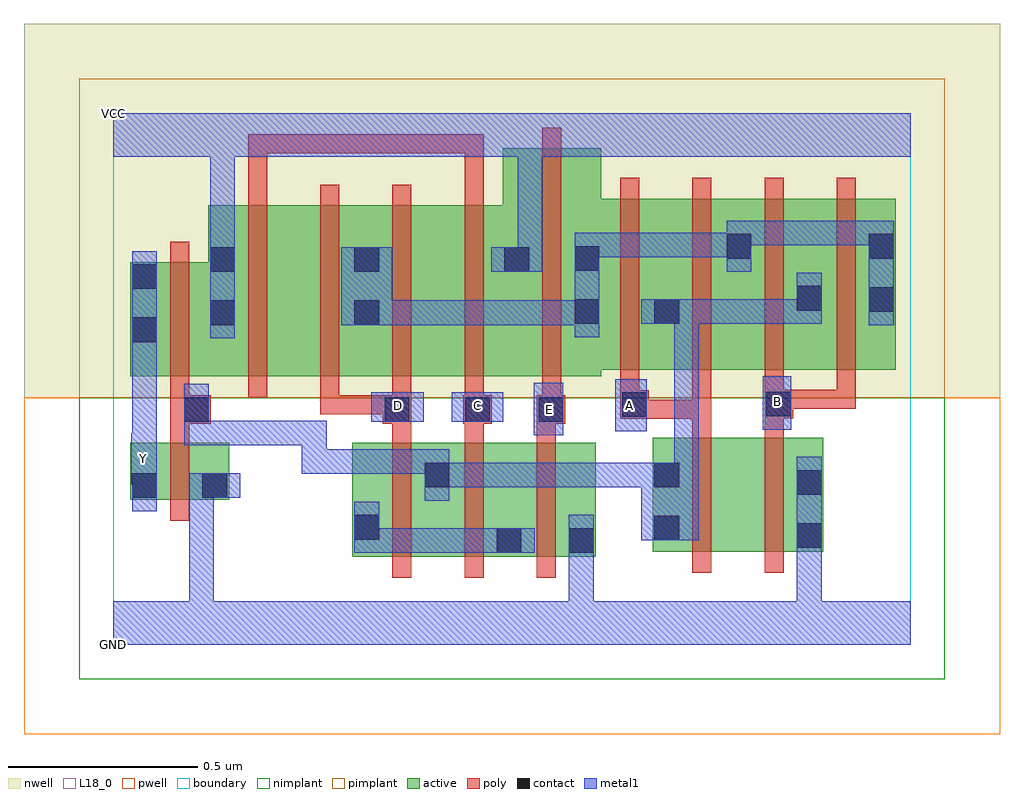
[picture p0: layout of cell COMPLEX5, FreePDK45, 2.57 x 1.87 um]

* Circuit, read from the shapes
.subckt COMPLEX5 A B C D E GND VCC Y
M1 GND n1 Y VSUBS nfet w=0.15u l=0.05u
M2 n1 D n2 VSUBS nfet w=0.3u l=0.05u
M3 n2 C n1 VSUBS nfet w=0.3u l=0.05u
M4 GND E n2 VSUBS nfet w=0.3u l=0.05u
M5 n3 A n1 VSUBS nfet w=0.3u l=0.05u
M6 GND B n3 VSUBS nfet w=0.3u l=0.05u
M7 VCC n1 Y n4 pfet w=0.3u l=0.05u
M8 n5 C VCC n4 pfet w=0.45u l=0.05u
M9 n6 D n5 n4 pfet w=0.45u l=0.05u
M10 n7 D n6 n4 pfet w=0.45u l=0.05u
M11 VCC C n7 n4 pfet w=0.45u l=0.05u
M12 n6 E VCC n4 pfet w=0.6u l=0.05u
M13 n1 A n6 n4 pfet w=0.45u l=0.05u m=2
M14 n1 B n6 n4 pfet w=0.45u l=0.05u m=2
.ends

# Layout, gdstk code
import gdstk
lib = gdstk.Library(unit=1e-6, precision=1e-09)
def R(c, l, rs):  # rectangles x0, y0, x1, y1
    for r in rs: c.add(gdstk.rectangle(r[:2], r[2:], *l))
def A(c, l, x, y, w, h, nx, ny, dx, dy):  # array of equal rectangles
    R(c, l, [(x+i*dx, y+j*dy, x+i*dx+w, y+j*dy+h) for i in range(nx) for j in range(ny)])
active = (1, 0)
pwell = (2, 0)
nwell = (3, 0)
nimplant = (4, 0)
pimplant = (5, 0)
poly = (9, 0)
contact = (10, 0)
metal1 = (11, 0)
L18_0 = (18, 0)
boundary = (235, 0)

complex5 = lib.new_cell('COMPLEX5')
R(complex5, active, [(0.63,0.232,0.705,0.532), (0.63,0.232,0.89,0.532), (0.815,0.232,1.08,0.532), (1.005,0.232,1.27,0.532), (1.005,0.232,1.08,0.397), (1.195,0.232,1.27,0.532), (1.42,0.245,1.645,0.545), (1.645,0.245,1.87,0.545), (1.795,0.245,1.87,0.545), (1.42,0.27,1.495,0.545), (0.815,0.295,0.89,0.485), (0.045,0.382,0.12,0.532), (0.045,0.382,0.305,0.532), (0.23,0.382,0.305,0.532), (0.045,0.707,0.12,1.007), (0.045,0.707,0.325,1.007), (0.25,0.707,0.475,1.157), (0.25,0.707,0.325,1.157), (0.475,0.707,0.705,1.157), (0.63,0.707,0.855,1.157), (0.63,0.707,0.705,1.155), (0.855,0.707,1.1,1.157), (1.025,0.707,1.285,1.307), (1.025,0.722,1.1,1.197), (1.21,0.725,1.495,1.175), (1.21,0.725,1.285,1.2), (1.42,0.725,1.685,1.175), (1.42,0.725,1.495,1.07), (1.61,0.725,1.87,1.175), (1.795,0.725,2.06,1.175), (1.795,0.725,1.87,1.07), (1.985,0.725,2.06,1.155), (1.61,0.857,1.685,1.155)])
R(complex5, pwell, [(-0.235,-0.235,2.335,0.65)])
R(complex5, nwell, [(-0.235,0.65,2.335,1.635)])
R(complex5, nimplant, [(-0.09,-0.09,2.19,0.65)])
R(complex5, pimplant, [(-0.09,0.65,2.19,1.49)])
A(complex5, poly, 0.735, 0.177, 0.05, 0.41, 3, 1, 0.19, 0)
A(complex5, poly, 0.735, 0.537, 0.05, 0.095, 3, 1, 0.19, 0)
A(complex5, poly, 0.545, 0.607, 0.05, 0.095, 3, 1, 0.19, 0)
A(complex5, poly, 0.355, 0.652, 0.05, 0.56, 4, 1, 0.19, 0)
A(complex5, poly, 1.335, 0.67, 0.05, 0.56, 4, 1, 0.19, 0)
R(complex5, poly, [(1.525,0.19,1.575,0.6), (1.715,0.19,1.765,0.6), (0.15,0.327,0.2,0.587), (0.15,0.537,0.2,0.632), (1.525,0.55,1.575,0.645), (1.715,0.55,1.765,0.647), (0.15,0.582,0.257,0.657), (0.71,0.582,0.785,0.657), (0.922,0.582,0.997,0.657), (1.115,0.582,1.19,0.657), (1.335,0.595,1.41,0.67), (1.36,0.595,1.575,0.645), (1.36,0.595,1.41,0.645), (1.36,0.595,1.41,0.645), (1.525,0.595,1.575,0.645), (1.525,0.595,1.575,0.72), (1.715,0.597,1.79,0.672), (0.15,0.607,0.2,0.702), (0.545,0.607,0.76,0.657), (0.545,0.607,0.595,0.657), (0.545,0.607,0.595,0.657), (0.545,0.607,0.595,0.657), (1.13,0.607,1.18,0.702), (1.335,0.62,1.385,0.72), (1.715,0.622,1.765,0.72), (1.74,0.622,1.955,0.672), (1.74,0.622,1.79,0.672), (1.74,0.622,1.79,0.672), (1.905,0.622,1.955,0.72), (1.905,0.622,1.955,0.672), (0.15,0.652,0.2,1.062), (1.13,0.652,1.18,1.362), (0.355,1.162,0.405,1.345), (0.925,1.162,0.975,1.345), (0.355,1.295,0.405,1.345), (0.355,1.295,0.405,1.345), (0.355,1.295,0.405,1.345), (0.355,1.295,0.595,1.345), (0.545,1.295,0.595,1.345), (0.545,1.295,0.727,1.345), (0.677,1.295,0.727,1.345), (0.677,1.295,0.727,1.345), (0.677,1.295,0.727,1.345), (0.677,1.295,0.975,1.345), (0.925,1.295,0.975,1.345), (0.925,1.295,0.975,1.345), (0.925,1.295,0.975,1.345)])
R(complex5, contact, [(1.01,0.242,1.075,0.307), (1.2,0.242,1.265,0.307), (1.8,0.255,1.865,0.32), (1.425,0.275,1.49,0.34), (0.635,0.277,0.7,0.342), (0.05,0.387,0.115,0.452), (0.235,0.387,0.3,0.452), (1.8,0.395,1.865,0.46), (0.82,0.415,0.885,0.48), (1.425,0.415,1.49,0.48), (0.187,0.587,0.252,0.652), (0.715,0.587,0.78,0.652), (0.927,0.587,0.992,0.652), (1.12,0.587,1.185,0.652), (1.34,0.6,1.405,0.665), (1.72,0.602,1.785,0.667), (0.05,0.797,0.115,0.862), (0.255,0.842,0.32,0.907), (0.635,0.842,0.7,0.907), (1.215,0.845,1.28,0.91), (1.425,0.845,1.49,0.91), (1.99,0.877,2.055,0.942), (1.8,0.88,1.865,0.945), (0.05,0.937,0.115,1.002), (0.255,0.982,0.32,1.047), (0.635,0.982,0.7,1.047), (1.03,0.982,1.095,1.047), (1.215,0.985,1.28,1.05), (1.615,1.017,1.68,1.082), (1.99,1.017,2.055,1.082)])
R(complex5, metal1, [(0,0,2.1,0.115), (0.2,0.05,0.265,0.115), (0.2,0.05,0.265,0.115), (0.2,0.05,0.265,0.115), (0.2,0.05,0.265,0.115), (0.2,0.05,0.265,0.115), (0.2,0.05,0.265,0.115), (0.2,0.05,0.265,0.452), (1.2,0.05,1.265,0.115), (1.2,0.05,1.265,0.115), (1.2,0.05,1.265,0.115), (1.2,0.05,1.265,0.115), (1.2,0.05,1.265,0.272), (1.8,0.05,1.865,0.115), (1.8,0.05,1.865,0.115), (1.8,0.05,1.865,0.285), (1.2,0.207,1.265,0.342), (1.8,0.22,1.865,0.285), (1.8,0.22,1.865,0.285), (1.8,0.22,1.865,0.495), (0.635,0.242,0.7,0.307), (0.635,0.242,0.7,0.307), (0.635,0.242,0.7,0.377), (0.635,0.242,0.902,0.307), (0.837,0.242,0.902,0.307), (0.837,0.242,0.902,0.307), (0.837,0.242,0.902,0.307), (0.837,0.242,1.04,0.307), (0.975,0.242,1.11,0.307), (1.39,0.275,1.542,0.48), (0.05,0.352,0.115,0.487), (0.82,0.38,0.885,0.515), (0.2,0.387,0.335,0.452), (0.82,0.415,0.885,0.48), (0.82,0.415,0.885,0.48), (0.82,0.415,1.04,0.48), (0.975,0.415,1.04,0.48), (0.975,0.415,1.04,0.48), (0.975,0.415,1.04,0.48), (0.975,0.415,1.317,0.48), (1.252,0.415,1.317,0.48), (1.252,0.415,1.317,0.48), (1.252,0.415,1.317,0.48), (1.252,0.415,1.455,0.48), (1.477,0.415,1.542,0.91), (0.047,0.422,0.115,0.557), (0.05,0.422,0.115,0.487), (0.497,0.45,0.562,0.515), (0.497,0.45,0.562,0.515), (0.497,0.45,0.7,0.515), (0.497,0.45,0.562,0.59), (0.635,0.45,0.7,0.515), (0.635,0.45,0.885,0.515), (0.05,0.492,0.115,0.827), (0.187,0.525,0.252,0.59), (0.187,0.525,0.39,0.59), (0.187,0.525,0.252,0.617), (0.325,0.525,0.39,0.59), (0.325,0.525,0.39,0.59), (0.325,0.525,0.39,0.59), (0.325,0.525,0.562,0.59), (0.187,0.552,0.252,0.617), (0.187,0.552,0.252,0.617), (0.187,0.552,0.252,0.687), (1.107,0.552,1.185,0.69), (1.322,0.562,1.405,0.7), (1.71,0.567,1.785,0.707), (0.68,0.587,0.817,0.665), (0.892,0.587,1.027,0.665), (0.05,0.762,0.115,1.037), (0.255,0.807,0.32,1.082), (1.215,0.81,1.28,1.085), (0.6,0.842,0.735,1.047), (0.67,0.842,0.735,0.907), (0.67,0.842,0.735,0.907), (0.67,0.842,0.902,0.907), (0.837,0.842,0.902,0.907), (0.837,0.842,0.902,0.907), (0.837,0.842,0.902,0.907), (0.837,0.842,1.127,0.907), (1.062,0.842,1.127,0.907), (1.062,0.842,1.127,0.907), (1.062,0.842,1.127,0.907), (1.062,0.842,1.28,0.907), (1.99,0.842,2.055,1.117), (1.39,0.845,1.542,0.91), (1.477,0.845,1.542,0.91), (1.477,0.845,1.542,0.91), (1.477,0.845,1.542,0.91), (1.477,0.845,1.542,0.91), (1.477,0.845,1.727,0.91), (1.662,0.845,1.727,0.91), (1.662,0.845,1.865,0.91), (1.8,0.845,1.865,0.91), (1.8,0.845,1.865,0.91), (1.8,0.845,1.865,0.98), (0.995,0.982,1.13,1.047), (1.065,0.982,1.13,1.35), (1.615,0.982,1.68,1.117), (0.255,1.017,0.32,1.35), (1.215,1.02,1.28,1.085), (1.215,1.02,1.28,1.085), (1.215,1.02,1.322,1.085), (1.257,1.02,1.322,1.085), (1.257,1.02,1.542,1.085), (1.477,1.02,1.542,1.085), (1.477,1.02,1.542,1.085), (1.477,1.02,1.542,1.085), (1.477,1.02,1.68,1.085), (1.615,1.052,1.865,1.117), (1.8,1.052,1.865,1.117), (1.8,1.052,1.865,1.117), (1.8,1.052,1.865,1.117), (1.8,1.052,2.055,1.117), (1.99,1.052,2.055,1.117), (1.99,1.052,2.055,1.117), (0,1.285,2.1,1.4), (0.255,1.285,0.32,1.35), (0.255,1.285,0.32,1.35)])
R(complex5, L18_0, [(0,0,2.1,0.115), (0.2,0.05,0.265,0.115), (0.2,0.05,0.265,0.115), (0.2,0.05,0.265,0.115), (0.2,0.05,0.265,0.115), (0.2,0.05,0.265,0.115), (0.2,0.05,0.265,0.115), (0.2,0.05,0.265,0.452), (1.2,0.05,1.265,0.115), (1.2,0.05,1.265,0.115), (1.2,0.05,1.265,0.115), (1.2,0.05,1.265,0.115), (1.2,0.05,1.265,0.272), (1.8,0.05,1.865,0.115), (1.8,0.05,1.865,0.115), (1.8,0.05,1.865,0.285), (1.2,0.207,1.265,0.342), (1.8,0.22,1.865,0.285), (1.8,0.22,1.865,0.285), (1.8,0.22,1.865,0.495), (0.05,0.352,0.115,0.487), (0.2,0.387,0.335,0.452), (0.047,0.422,0.115,0.557), (0.05,0.422,0.115,0.487), (0.047,0.457,0.112,0.522), (0.05,0.492,0.115,0.827), (1.107,0.552,1.185,0.69), (1.322,0.562,1.405,0.7), (1.71,0.567,1.785,0.707), (0.68,0.587,0.817,0.665), (0.892,0.587,1.027,0.665), (1.117,0.587,1.182,0.652), (0.717,0.597,0.782,0.662), (0.927,0.597,0.992,0.662), (1.327,0.597,1.392,0.662), (1.717,0.607,1.782,0.672), (0.05,0.762,0.115,1.037), (0.255,0.807,0.32,1.082), (0.995,0.982,1.13,1.047), (1.065,0.982,1.13,1.35), (0.255,1.017,0.32,1.35), (0,1.285,2.1,1.4), (0.255,1.285,0.32,1.35), (0.255,1.285,0.32,1.35)])
R(complex5, boundary, [(0,0,2.1,1.4)])
complex5.add(gdstk.Label('A', (1.36,0.63), layer=11, texttype=0))
complex5.add(gdstk.Label('B', (1.75,0.64), layer=11, texttype=0))
complex5.add(gdstk.Label('C', (0.96,0.63), layer=11, texttype=0))
complex5.add(gdstk.Label('D', (0.75,0.63), layer=11, texttype=0))
complex5.add(gdstk.Label('E', (1.15,0.62), layer=11, texttype=0))
complex5.add(gdstk.Label('Y', (0.08,0.49), layer=11, texttype=0))
complex5.add(gdstk.Label('VCC', (0,1.4), layer=11, texttype=0))
complex5.add(gdstk.Label('GND', (0,0), layer=11, texttype=0))

lib.write_gds('COMPLEX5.gds')
